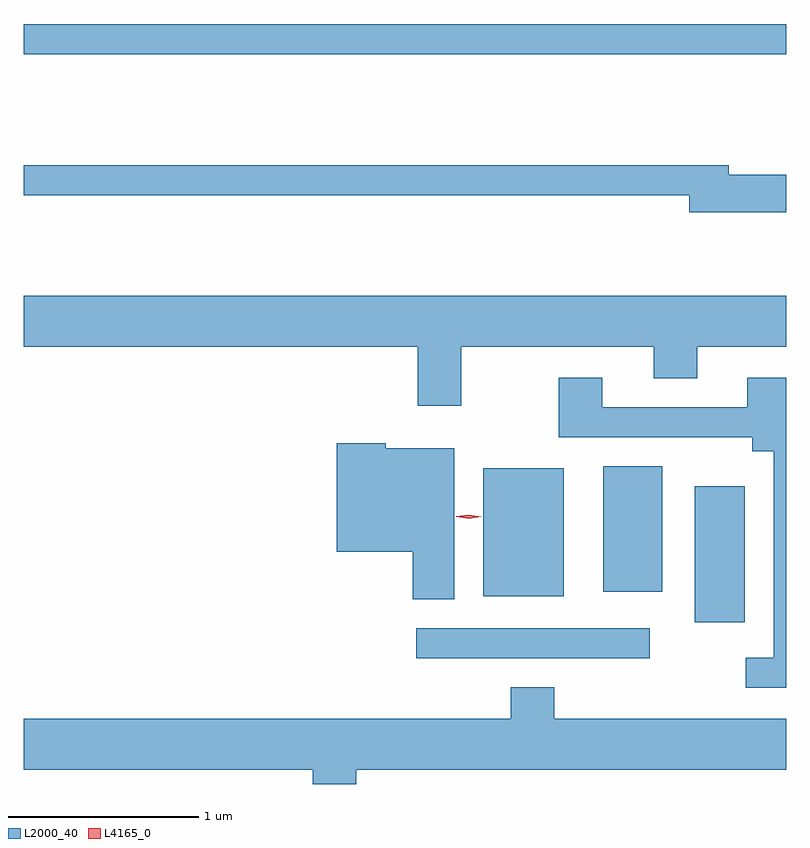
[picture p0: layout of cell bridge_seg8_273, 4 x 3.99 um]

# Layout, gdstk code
import gdstk
lib = gdstk.Library(unit=1e-6, precision=1e-09)
def R(c, l, rs):  # rectangles x0, y0, x1, y1
    for r in rs: c.add(gdstk.rectangle(r[:2], r[2:], *l))
def P(c, l, *ps):  # polygons
    for p in ps: c.add(gdstk.Polygon(p, *l))
L2000_40 = (2000, 40)
L4165_0 = (4165, 0)

bridge_seg8_273 = lib.new_cell('bridge_seg8_273')
R(bridge_seg8_273, L2000_40, [(1346.773,1828.121,1347.998,1828.279), (1348.236,1828.311,1348.499,1829.024), (1347.126,1828.446,1347.549,1829.119), (1347.756,1828.471,1348.064,1829.129), (1344.715,1831.291,1348.715,1831.449)])
P(bridge_seg8_273, L2000_40, [(1348.715,1830.659),(1348.414,1830.659),(1348.414,1830.709),(1344.715,1830.709),(1344.715,1830.551),(1348.206,1830.551),(1348.206,1830.461),(1348.715,1830.461)],
  [(1344.715,1829.756),(1346.781,1829.756),(1346.781,1829.446),(1347.009,1829.446),(1347.009,1829.756),(1348.021,1829.756),(1348.021,1829.591),(1348.249,1829.591),(1348.249,1829.756),(1348.715,1829.756),(1348.715,1830.024),(1344.715,1830.024)],
  [(1348.715,1829.594),(1348.511,1829.594),(1348.511,1829.439),(1347.749,1829.439),(1347.749,1829.594),(1347.521,1829.594),(1347.521,1829.281),(1348.536,1829.281),(1348.536,1829.206),(1348.651,1829.206),(1348.651,1828.124),(1348.503,1828.124),(1348.503,1827.966),(1348.715,1827.966)],
  [(1346.974,1829.224),(1346.614,1829.224),(1346.614,1829.249),(1346.356,1829.249),(1346.356,1828.681),(1346.756,1828.681),(1346.756,1828.431),(1346.974,1828.431)],
  [(1346.459,1827.536),(1348.715,1827.536),(1348.715,1827.804),(1347.499,1827.804),(1347.499,1827.969),(1347.271,1827.969),(1347.271,1827.804),(1344.715,1827.804),(1344.715,1827.536),(1346.231,1827.536),(1346.231,1827.461),(1346.459,1827.461)])
P(bridge_seg8_273, L4165_0, [(1347.05,1828.854),(1346.984,1828.864),(1346.984,1828.865),(1346.984,1828.865),(1347.05,1828.874),(1347.116,1828.864),(1347.116,1828.863),(1347.116,1828.863)])

lib.write_gds('bridge_seg8_273.gds')
